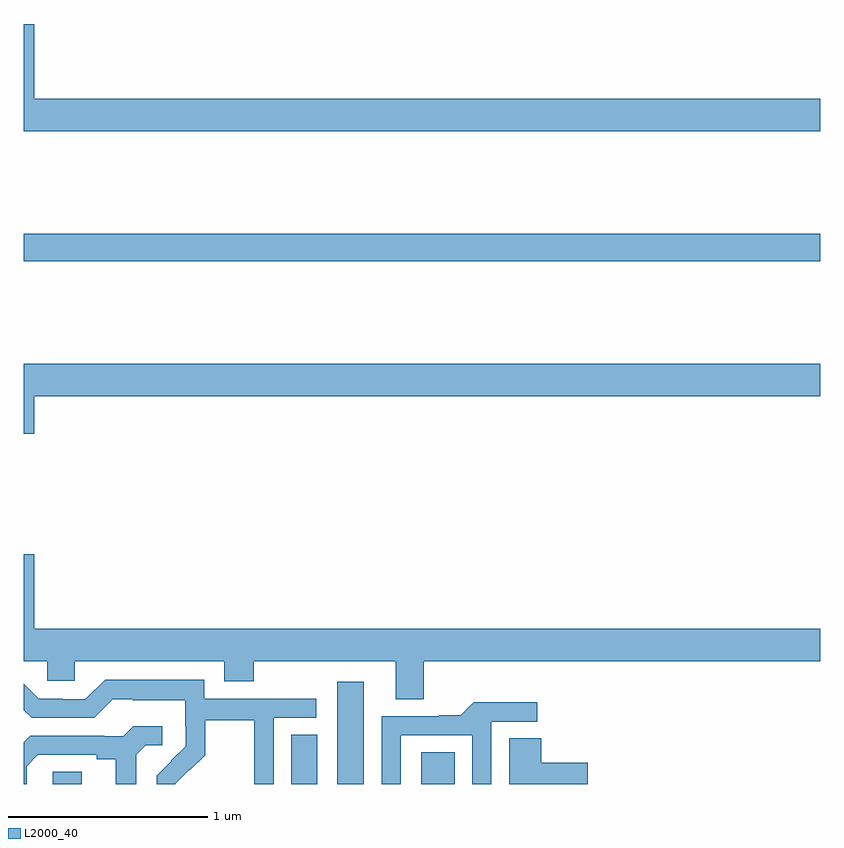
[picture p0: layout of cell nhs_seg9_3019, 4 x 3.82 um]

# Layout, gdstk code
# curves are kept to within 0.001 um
import gdstk
lib = gdstk.Library(unit=1e-6, precision=1e-09)
def R(c, l, rs):  # rectangles x0, y0, x1, y1
    for r in rs: c.add(gdstk.rectangle(r[:2], r[2:], *l))
def P(c, l, *ps):  # polygons
    for p in ps: c.add(gdstk.Polygon(p, *l))
L2000_40 = (2000, 40)

nhs_seg9_3019 = lib.new_cell('nhs_seg9_3019')
R(nhs_seg9_3019, L2000_40, [(285.144,1166.5,285.289,1166.561), (286.343,1166.5,286.474,1166.747), (286.574,1166.5,286.708,1167.013), (286.997,1166.5,287.164,1166.66), (285,1169.128,289,1169.264)])
P(nhs_seg9_3019, L2000_40, [(289,1169.944),(285.052,1169.944),(285.052,1170.319),(285,1170.319),(285,1169.78),(289,1169.78)],
  [(285.052,1168.448),(289,1168.448),(289,1168.612),(285,1168.612),(285,1168.26),(285.052,1168.26)],
  [(287.008,1167.116),(289,1167.116),(289,1167.28),(285.052,1167.28),(285.052,1167.655),(285,1167.655),(285,1167.116),(285.117,1167.116),(285.117,1167.018),(285.255,1167.018),(285.255,1167.116),(286.007,1167.116),(286.007,1167.017),(286.155,1167.017),(286.155,1167.116),(286.868,1167.116),(286.868,1166.926),(287.008,1166.926)],
  [(285.761,1166.501),(285.831,1166.571),(285.834,1166.568),(285.911,1166.645),(285.911,1166.82),(286.156,1166.82),(286.156,1166.596),(286.158,1166.596),(286.158,1166.5),(286.254,1166.5),(286.254,1166.832),(286.468,1166.832),(286.468,1166.928),(285.906,1166.928),(285.906,1167.025),(285.409,1167.025),(285.309,1166.925),(285.194,1166.925),(285.194,1166.928),(285.075,1166.928),(285,1167.003),(285,1166.871),(285.039,1166.832),(285.354,1166.832),(285.447,1166.925),(285.547,1166.925),(285.547,1166.921),(285.81,1166.921),(285.81,1166.787),(285.812,1166.787),(285.812,1166.69),(285.666,1166.542),(285.666,1166.5)],
  [(286.893,1166.745),(287.253,1166.745),(287.253,1166.5),(287.349,1166.5),(287.349,1166.814),(287.578,1166.814),(287.578,1166.912),(287.261,1166.912),(287.195,1166.846),(287.087,1166.846),(287.087,1166.841),(286.797,1166.841),(286.797,1166.5),(286.893,1166.5)],
  [(285.013,1166.589),(285.07,1166.646),(285.365,1166.646),(285.365,1166.624),(285.461,1166.624),(285.461,1166.5),(285.565,1166.5),(285.565,1166.647),(285.612,1166.694),(285.694,1166.694),(285.694,1166.791),(285.55,1166.791),(285.498,1166.739),(285.404,1166.739),(285.404,1166.742),(285.032,1166.742),(285,1166.71),(285,1166.5),(285.013,1166.5)],
  [(287.833,1166.606),(287.6,1166.606),(287.6,1166.729),(287.438,1166.729),(287.438,1166.5),(287.833,1166.5)])

lib.write_gds('nhs_seg9_3019.gds')
